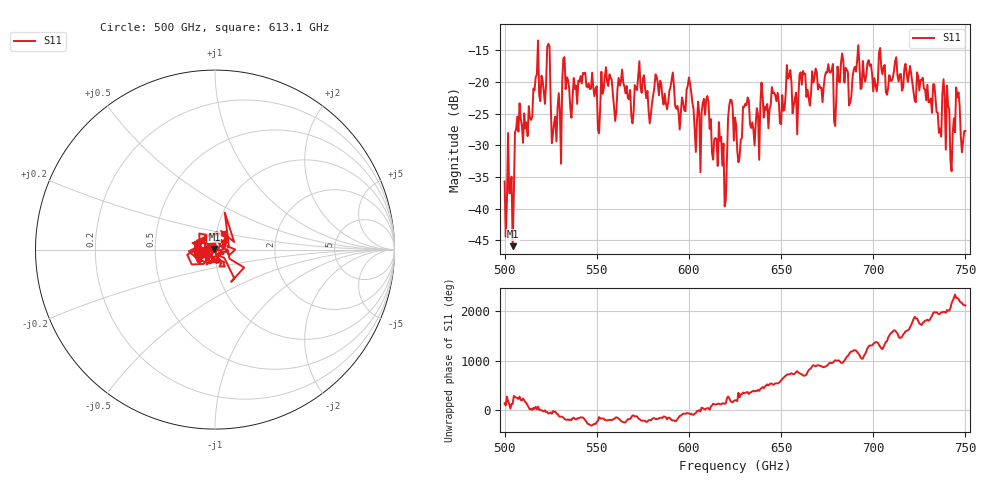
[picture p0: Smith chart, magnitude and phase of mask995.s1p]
!Created with skrf (http://scikit-rf.org).
# GHz S MA R 50.0
!freq magS11 angS11
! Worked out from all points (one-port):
!   401 points, 500 GHz to 750 GHz, reference 50 ohm
!   lowest |S11| = -45.9 dB at 504.4 GHz (marker M1), VSWR 1.01, Z = 49.7 + j0.37 ohm
!   |S11| at or under -10 dB: start of sweep to end of sweep
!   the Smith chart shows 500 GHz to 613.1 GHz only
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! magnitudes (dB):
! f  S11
! 500 GHz  -35.7
! 504.4 GHz  -45.9
! 506.9 GHz  -25.5
! 513.8 GHz  -25.7
! 516.9 GHz  -19.2
! 523.8 GHz  -13.9
! 526.9 GHz  -26.4
! 531.2 GHz  -19.9
! 562.5 GHz  -20.6
! 579.4 GHz  -25.1
! 590.6 GHz  -19.6
! 593.8 GHz  -23.8
! 600 GHz  -19.3
! 605 GHz  -23.1
! 609.4 GHz  -22.8
! 619.4 GHz  -39.6
! 622.5 GHz  -22.8
! 625 GHz  -25.6
! 627.5 GHz  -31.8
! 630.6 GHz  -23.4
! 656.2 GHz  -24.9
! 676.9 GHz  -18.5
! 680 GHz  -22.4
! 683.8 GHz  -16.6
! 687.5 GHz  -23.2
! 691.2 GHz  -16.7
! 718.8 GHz  -20.0
! 750 GHz  -27.7
